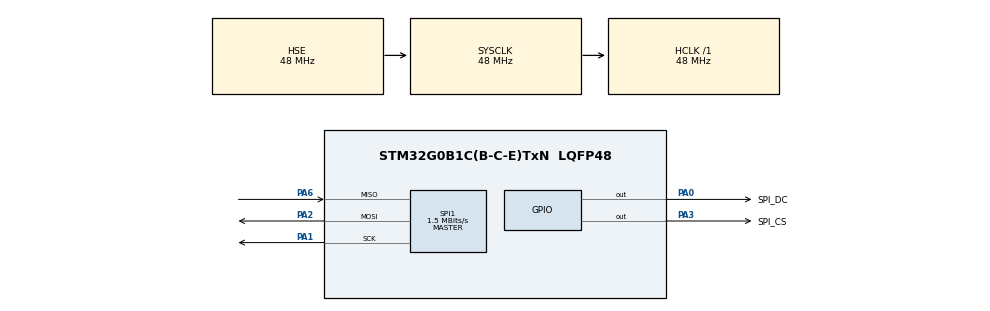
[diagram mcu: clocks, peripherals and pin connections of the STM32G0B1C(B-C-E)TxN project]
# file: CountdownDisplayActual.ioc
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Mcu.Family=STM32G0
Mcu.Name=STM32G0B1C(B-C-E)TxN
Mcu.Package=LQFP48
NVIC.TIM2_IRQn=true\:0\:0\:false\:false\:true\:true\:true\:true
PA0.GPIO_Label=SPI_DC
PA0.GPIO_PuPd=GPIO_NOPULL
PA0.GPIO_Speed=GPIO_SPEED_FREQ_LOW
PA0.Signal=GPIO_Output
PA1.Mode=Full_Duplex_Master
PA1.Signal=SPI1_SCK
PA13.Mode=Serial_Wire
PA13.Signal=SYS_SWDIO
PA14-BOOT0.Mode=Serial_Wire
PA14-BOOT0.Signal=SYS_SWCLK
PA2.Mode=Full_Duplex_Master
PA2.Signal=SPI1_MOSI
PA3.GPIO_Label=SPI_CS
PA3.GPIO_PuPd=GPIO_NOPULL
PA3.GPIO_Speed=GPIO_SPEED_FREQ_LOW
PA3.Signal=GPIO_Output
PA6.Mode=Full_Duplex_Master
PA6.Signal=SPI1_MISO
PF0-OSC_IN\ (PF0).Mode=HSE-External-Clock-Source
PF0-OSC_IN\ (PF0).Signal=RCC_OSC_IN
ProjectManager.HeapSize=0x200
ProjectManager.StackSize=0x400
ProjectManager.TargetToolchain=STM32CubeIDE
RCC.ADCFreq_Value=48000000
RCC.AHBFreq_Value=48000000
RCC.CortexFreq_Value=48000000
RCC.EXTERNAL_CLOCK_VALUE=48000
RCC.HCLKFreq_Value=48000000
RCC.HSE_VALUE=48000000
RCC.HSI48_VALUE=48000000
RCC.HSI_VALUE=16000000
RCC.LSE_VALUE=32768
RCC.PLLM=RCC_PLLM_DIV4
RCC.PLLSourceVirtual=RCC_PLLSOURCE_HSE
RCC.SYSCLKFreq_VALUE=48000000
RCC.SYSCLKSource=RCC_SYSCLKSOURCE_HSE
RCC.USBFreq_Value=48000000
RCC.VCOOutputFreq_Value=96000000
RTC.Date=31
RTC.Hours=7
RTC.Minutes=20
RTC.Month=RTC_MONTH_OCTOBER
RTC.WeekDay=RTC_WEEKDAY_THURSDAY
RTC.Year=24
SPI1.BaudRatePrescaler=SPI_BAUDRATEPRESCALER_32
SPI1.CalculateBaudRate=1.5 MBits/s
SPI1.Direction=SPI_DIRECTION_2LINES
SPI1.Mode=SPI_MODE_MASTER
SPI1.VirtualType=VM_MASTER
TIM2.Prescaler=1000
VP_RTC_VS_RTC_Activate.Mode=RTC_Enabled
VP_RTC_VS_RTC_Calendar.Mode=RTC_Calendar
VP_SYS_VS_DBSignals.Mode=DisableDeadBatterySignals
VP_TIM2_VS_ClockSourceINT.Mode=Internal
board=custom

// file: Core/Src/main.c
/* USER CODE BEGIN Header */
/**
 ******************************************************************************
 * @file           : main.c
 * @brief          : Main program body
 ******************************************************************************
 * @attention
 *
 * Copyright (c) 2024 STMicroelectronics.
 * All rights reserved.
 *
 * This software is licensed under terms that can be found in the LICENSE file
 * in the root directory of this software component.
 * If no LICENSE file comes with this software, it is provided AS-IS.
 *
 ******************************************************************************
 */
/* USER CODE END Header */
#include "main.h"

/* USER CODE BEGIN Includes */
#include <string.h>
#include <stdbool.h>
#include <stdlib.h>
#include "st7735.h"
#include "font.h"
/* USER CODE END Includes */

RTC_HandleTypeDef hrtc;

SPI_HandleTypeDef hspi1;

TIM_HandleTypeDef htim2;

/* USER CODE BEGIN PV */
PixelData screen[128][160];

FontCharacter font[] = { // A-Z, 0-9 (36 total characters)
		{32, 0},
		{32, 1},
		{32, 2},
		{32, 3},
		{32, 4},
		{32, 5},
		{32, 6},
		{32, 7},
		{32, 8},
		{32, 9},
		{32, 10},
		{32, 11},
		{32, 12},
		{32, 13},
		{32, 14},
		{32, 15},
		{42, 16}, // Q
		{32, 17},
		{32, 18},
		{32, 19},
		{32, 20},
		{32, 21},
		{32, 22},
		{32, 23},
		{32, 24},
		{32, 25},
		{32, 26}, // 0
		{32, 27},
		{32, 28},
		{32, 29},
		{32, 30},
		{32, 31},
		{32, 32},
		{32, 33},
		{32, 34},
		{32, 35},
};

uint8_t textElementsCount = 0;
// Text element buffer, 32 elements max!
// Allocated to disallow dynamic allocation.
TextElement textElements[32];

// Destination date struct
RTC_DateTypeDef jan1 = {
		RTC_WEEKDAY_WEDNESDAY,
		RTC_MONTH_JANUARY,
		1,
		25
};

int currentDate;
int daysRemaining;
/* USER CODE END PV */

void SystemClock_Config(void);
static void MX_GPIO_Init(void);
static void MX_RTC_Init(void);
static void MX_SPI1_Init(void);
static void MX_TIM2_Init(void);
/* USER CODE BEGIN PFP */
void writeLCD(ST7735_JOB job, uint8_t *data);
void writeLCDColour(PixelData data);
PixelData colourFromHex(uint8_t r, uint8_t g, uint8_t b);
void drawText(TextElement te);
void drawCharacter(uint8_t x, uint8_t y, FontCharacter character, PixelData colour);
void updateBuffer();
void updateScreen();
void updateRect(Rect rect);
void addText(const char* text, PixelData colour, Point pos, bool centered);
void removeText(int index);
int calculateDaysRemaining(RTC_DateTypeDef from, RTC_DateTypeDef to);
char* intToString(int i);
/* USER CODE END PFP */

int main(void)
{

	/* MCU Configuration--------------------------------------------------------*/

	/* Reset of all peripherals, Initializes the Flash interface and the Systick. */
	HAL_Init();

	/* USER CODE BEGIN Init */
	uint8_t startupData[] = {
			0x01, 0x2C, 0x2D, // FRMCTR1 // FRMCTR2 // FRMCTR3 (1)
			0x01, 0x2C, 0x2D, // FRMCTR3 (2)
			0x07,			  // INVCTR
			0xA2, 0x02, 0x84, // PWCTR1
			0xC5,			  // PWCTR2
			0x0A, 0x00,		  // PWCTR3
			0x8A, 0x2A,		  // PWCTR4
			0x8A, 0xEE,		  // PWCTR5
			0x0E, 0x0E,		  // VMCTR1
			0x20,			  // MADCTL
			0x06,			  // COLMOD
			0x00, 0x00, 0x00, 0x7F, // RASET
			0x00, 0x00, 0x00, 0x9F, // CASET
			0x02, 0x1C, 0x07, 0x12, 0x37, 0x32, 0x29, 0x2D, 0x29, 0x25, 0x2B, 0x39, 0x00, 0x01, 0x03, 0x10, // GAMCTRP1
			0x03, 0x1D, 0x07, 0x06, 0x2E, 0x2C, 0x29, 0x2D, 0x2E, 0x2E, 0x37, 0x3F, 0x00, 0x00, 0x02, 0x10, // GAMCTRN1
	};

	ST7735_JOB jobs[] = {
			{ST7735_SWRESET, 0, 0, 150},
			{ST7735_SLPOUT, 0, 0, 500},
			{ST7735_FRMCTR1, 0, 3, 0},
			{ST7735_FRMCTR2, 0, 3, 0},
			{ST7735_FRMCTR3, 0, 6, 0},
			{ST7735_INVCTR, 6, 1, 0},
			{ST7735_PWCTR1, 7, 3, 0},
			{ST7735_PWCTR2, 10, 1, 0},
			{ST7735_PWCTR3, 11, 2, 0},
			{ST7735_PWCTR4, 13, 2, 0},
			{ST7735_PWCTR5, 15, 2, 0},
			{ST7735_VMCTR1, 17, 2, 0},
			{ST7735_INVOFF, 19, 0, 0},
			{ST7735_MADCTL, 19, 1, 0},
			{ST7735_COLMOD, 20, 1, 0},
			{ST7735_RASET, 21, 4, 0},
			{ST7735_CASET, 25, 4, 0},
			{ST7735_GAMCTRP1, 29, 16, 0},
			{ST7735_GAMCTRN1, 45, 16, 0},
			{ST7735_NORON, 51, 0, 10},
			{ST7735_TEOFF, 51, 0, 0},
			{ST7735_DISPON, 51, 0, 100},
	};
	/* USER CODE END Init */

	/* Configure the system clock */
	SystemClock_Config();

	/* Initialize all configured peripherals */
	MX_GPIO_Init();
	MX_RTC_Init();
	MX_SPI1_Init();
	MX_TIM2_Init();
	/* USER CODE BEGIN 2 */
	uint32_t jobSize = sizeof(jobs) / sizeof(ST7735_JOB);
	for(int i = 0; i < jobSize; i++) {
		writeLCD(jobs[i], startupData);
	}
	writeLCDColour(colourFromHex(0x35, 0x35, 0x35)); // Set background colour
	updateScreen();
	addText("Days\nLeft", White, (Point) {64, 60}, true);
	updateBuffer();
	RTC_DateTypeDef currDate;
	HAL_RTC_GetDate(&hrtc, &currDate, RTC_FORMAT_BCD);
	currentDate = currDate.WeekDay;
	/* USER CODE END 2 */

	/* Infinite loop */
	while (1)
	{

	}
}

void SystemClock_Config(void)
{
	RCC_OscInitTypeDef RCC_OscInitStruct = {0};
	RCC_ClkInitTypeDef RCC_ClkInitStruct = {0};

	/** Configure the main internal regulator output voltage
	 */
	HAL_PWREx_ControlVoltageScaling(PWR_REGULATOR_VOLTAGE_SCALE1);

	/** Initializes the RCC Oscillators according to the specified parameters
	 * in the RCC_OscInitTypeDef structure.
	 */
	RCC_OscInitStruct.OscillatorType = RCC_OSCILLATORTYPE_LSI|RCC_OSCILLATORTYPE_HSE;
	RCC_OscInitStruct.HSEState = RCC_HSE_BYPASS;
	RCC_OscInitStruct.LSIState = RCC_LSI_ON;
	RCC_OscInitStruct.PLL.PLLState = RCC_PLL_NONE;
	if (HAL_RCC_OscConfig(&RCC_OscInitStruct) != HAL_OK)
	{
		Error_Handler();
	}

	/** Initializes the CPU, AHB and APB buses clocks
	 */
	RCC_ClkInitStruct.ClockType = RCC_CLOCKTYPE_HCLK|RCC_CLOCKTYPE_SYSCLK
			|RCC_CLOCKTYPE_PCLK1;
	RCC_ClkInitStruct.SYSCLKSource = RCC_SYSCLKSOURCE_HSE;
	RCC_ClkInitStruct.AHBCLKDivider = RCC_SYSCLK_DIV1;
	RCC_ClkInitStruct.APB1CLKDivider = RCC_HCLK_DIV1;

	if (HAL_RCC_ClockConfig(&RCC_ClkInitStruct, FLASH_LATENCY_1) != HAL_OK)
	{
		Error_Handler();
	}
}

static void MX_RTC_Init(void)
{

	RTC_TimeTypeDef sTime = {0};
	RTC_DateTypeDef sDate = {0};

	/** Initialize RTC Only
	 */
	hrtc.Instance = RTC;
	hrtc.Init.HourFormat = RTC_HOURFORMAT_24;
	hrtc.Init.AsynchPrediv = 127;
	hrtc.Init.SynchPrediv = 255;
	hrtc.Init.OutPut = RTC_OUTPUT_DISABLE;
	hrtc.Init.OutPutRemap = RTC_OUTPUT_REMAP_NONE;
	hrtc.Init.OutPutPolarity = RTC_OUTPUT_POLARITY_HIGH;
	hrtc.Init.OutPutType = RTC_OUTPUT_TYPE_OPENDRAIN;
	hrtc.Init.OutPutPullUp = RTC_OUTPUT_PULLUP_NONE;
	if (HAL_RTC_Init(&hrtc) != HAL_OK)
	{
		Error_Handler();
	}

	/** Initialize RTC and set the Time and Date
	 */
	sTime.Hours = 0x7;
	sTime.Minutes = 0x20;
	sTime.Seconds = 0x0;
	sTime.SubSeconds = 0x0;
	sTime.DayLightSaving = RTC_DAYLIGHTSAVING_NONE;
	sTime.StoreOperation = RTC_STOREOPERATION_RESET;
	if (HAL_RTC_SetTime(&hrtc, &sTime, RTC_FORMAT_BCD) != HAL_OK)
	{
		Error_Handler();
	}
	sDate.WeekDay = RTC_WEEKDAY_THURSDAY;
	sDate.Month = RTC_MONTH_OCTOBER;
	sDate.Date = 0x31;
	sDate.Year = 0x24;

	if (HAL_RTC_SetDate(&hrtc, &sDate, RTC_FORMAT_BCD) != HAL_OK)
	{
		Error_Handler();
	}

}

static void MX_SPI1_Init(void)
{

	/* SPI1 parameter configuration*/
	hspi1.Instance = SPI1;
	hspi1.Init.Mode = SPI_MODE_MASTER;
	hspi1.Init.Direction = SPI_DIRECTION_2LINES;
	hspi1.Init.DataSize = SPI_DATASIZE_8BIT;
	hspi1.Init.CLKPolarity = SPI_POLARITY_LOW;
	hspi1.Init.CLKPhase = SPI_PHASE_1EDGE;
	hspi1.Init.NSS = SPI_NSS_SOFT;
	hspi1.Init.BaudRatePrescaler = SPI_BAUDRATEPRESCALER_32;
	hspi1.Init.FirstBit = SPI_FIRSTBIT_MSB;
	hspi1.Init.TIMode = SPI_TIMODE_DISABLE;
	hspi1.Init.CRCCalculation = SPI_CRCCALCULATION_DISABLE;
	hspi1.Init.CRCPolynomial = 7;
	hspi1.Init.CRCLength = SPI_CRC_LENGTH_DATASIZE;
	hspi1.Init.NSSPMode = SPI_NSS_PULSE_ENABLE;
	if (HAL_SPI_Init(&hspi1) != HAL_OK)
	{
		Error_Handler();
	}

}

static void MX_TIM2_Init(void)
{

	TIM_ClockConfigTypeDef sClockSourceConfig = {0};
	TIM_MasterConfigTypeDef sMasterConfig = {0};

	htim2.Instance = TIM2;
	htim2.Init.Prescaler = 1000;
	htim2.Init.CounterMode = TIM_COUNTERMODE_UP;
	htim2.Init.Period = 4294967295;
	htim2.Init.ClockDivision = TIM_CLOCKDIVISION_DIV1;
	htim2.Init.AutoReloadPreload = TIM_AUTORELOAD_PRELOAD_DISABLE;
	if (HAL_TIM_Base_Init(&htim2) != HAL_OK)
	{
		Error_Handler();
	}
	sClockSourceConfig.ClockSource = TIM_CLOCKSOURCE_INTERNAL;
	if (HAL_TIM_ConfigClockSource(&htim2, &sClockSourceConfig) != HAL_OK)
	{
		Error_Handler();
	}
	sMasterConfig.MasterOutputTrigger = TIM_TRGO_RESET;
	sMasterConfig.MasterSlaveMode = TIM_MASTERSLAVEMODE_DISABLE;
	if (HAL_TIMEx_MasterConfigSynchronization(&htim2, &sMasterConfig) != HAL_OK)
	{
		Error_Handler();
	}

}

static void MX_GPIO_Init(void)
{
	GPIO_InitTypeDef GPIO_InitStruct = {0};

	/* GPIO Ports Clock Enable */
	__HAL_RCC_GPIOF_CLK_ENABLE();
	__HAL_RCC_GPIOA_CLK_ENABLE();

	/*Configure GPIO pin Output Level */
	HAL_GPIO_WritePin(GPIOA, SPI_DC_Pin|SPI_CS_Pin, GPIO_PIN_RESET);

	/*Configure GPIO pins : SPI_DC_Pin SPI_CS_Pin */
	GPIO_InitStruct.Pin = SPI_DC_Pin|SPI_CS_Pin;
	GPIO_InitStruct.Mode = GPIO_MODE_OUTPUT_PP;
	GPIO_InitStruct.Pull = GPIO_NOPULL;
	GPIO_InitStruct.Speed = GPIO_SPEED_FREQ_LOW;
	HAL_GPIO_Init(GPIOA, &GPIO_InitStruct);

}

/* USER CODE BEGIN 4 */
void writeLCD(ST7735_JOB job, uint8_t *data) {
	HAL_GPIO_WritePin(SPI_DC_GPIO_Port, SPI_DC_Pin, GPIO_PIN_RESET);
	HAL_GPIO_WritePin(SPI_CS_GPIO_Port, SPI_CS_Pin, GPIO_PIN_RESET);
	HAL_SPI_Transmit(&hspi1, &job.op, 1, HAL_MAX_DELAY);
	HAL_GPIO_WritePin(SPI_CS_GPIO_Port, SPI_CS_Pin, GPIO_PIN_SET);
	if(job.dataLength != 0) {
		HAL_GPIO_WritePin(SPI_DC_GPIO_Port, SPI_DC_Pin, GPIO_PIN_SET);
		for(int i = job.offset; i < job.offset + job.dataLength; i++) {
			HAL_GPIO_WritePin(SPI_CS_GPIO_Port, SPI_CS_Pin, GPIO_PIN_RESET);
			HAL_SPI_Transmit(&hspi1, data + i, 1, HAL_MAX_DELAY);
			HAL_GPIO_WritePin(SPI_CS_GPIO_Port, SPI_CS_Pin, GPIO_PIN_SET);
		}
	}
	HAL_SPI_Abort(&hspi1);
}

void writeLCDColour(PixelData data) {
	for(int i = 0; i < 128; i++) {
		for(int j = 0; j < 160; j++) {
			screen[i][j] = data;
		}
	}
}

PixelData colourFromHex(uint8_t r, uint8_t g, uint8_t b) {
	return (PixelData) {{r, g, b}};
}

void drawText(TextElement te) {
	// Determine the longest line of text
	int xOffset = 0;
	if(te.centered) {
		char* newLinePos = index(te.text, '\n');
		int longestLine = 0;
		// If word has no newlines, take the current text length
		if(newLinePos == NULL) {
			longestLine = strlen(te.text);
		} else {
			int tempCount = 0;
			// Iterate through the string gathering the longest distance between two newlines
			for(int i = 0; i < strlen(te.text) + 1; i++) {
				if(te.text[i] != '\n' && te.text[i] != 0x00) {
					tempCount++;
				} else {
					if(tempCount > longestLine) {
						longestLine = tempCount;
					}
					tempCount = 0;
				}
			}
		}
		int longestWidth = 24 * longestLine;
		xOffset = longestWidth / 2;
	}
	size_t textLength = strlen(te.text);
	uint8_t xPos = te.point.x - xOffset;
	uint8_t yPos = te.point.y;
	bool draw = true;
	for(int i = 0; i < textLength; i++) {
		char currChar = te.text[i];
		switch(currChar) {
		case 'A' ... 'Z':
		currChar -= 'A';
		break;
		case 'a' ... 'z':
		currChar -= 'a';
		break;
		case '0' ... '9':
		currChar -= '0';
		currChar += 26;
		break;
		case '\n':
			draw = false;
			xPos = te.point.x - xOffset;
			yPos += 45;
			break;
		default:
			break;
		}
		if(draw) {
			FontCharacter fc = font[(uint8_t) currChar];
			drawCharacter(xPos, yPos, fc, te.colour);
			xPos += 24;
		}
		draw = true;
	}
}

void drawCharacter(uint8_t x, uint8_t y, FontCharacter character, PixelData colour) {
	uint16_t dataPos = character.start * 96;
	if(character.start > 16) {
		dataPos += 30; // 10 rows * 3 bytes
	}
	for(int i = 0; i < character.height; i++) {
		for(int j = 0; j < 3; j++) { // Iterate through each byte
			for(int k = 7; k > -1; k--) { // Iterate through the bits of the byte
				if((fontData[dataPos + j] & (0b1 << k)) > 0) {
					uint8_t xPos = x + ((j * 8) - k);
					uint8_t yPos = i + y;
					if(xPos > 1 && xPos < 128 && yPos > 0 && yPos < 160) {
						screen[xPos][yPos] = colour;
					}
				}
			}
		}
		dataPos += 3;
	}
}

void updateBuffer() {
	for(int i = 0; i < textElementsCount; i++) {
		drawText(textElements[i]);
	}
	updateScreen();
}

void updateScreen() {
	//	writeLCD((ST7735_JOB) {ST7735_DISPOFF, 0, 0, 100}, 0);
	uint8_t width[4] = {0x00, 0x00, 0x00, 0x7F}; // Max width and height
	uint8_t height[4] = {0x00, 0x00, 0x00, 0x9F};
	ST7735_JOB j = {ST7735_RASET, 0, 4, 0};
	writeLCD(j, width);
	j = (ST7735_JOB) {ST7735_CASET, 0, 4, 0};
	writeLCD(j, height);
	j = (ST7735_JOB) {ST7735_RAMWR, 0, 0, 0};
	writeLCD(j, NULL);
	HAL_GPIO_WritePin(SPI_DC_GPIO_Port, SPI_DC_Pin, GPIO_PIN_SET);
	HAL_GPIO_WritePin(SPI_CS_GPIO_Port, SPI_CS_Pin, GPIO_PIN_RESET);
	for(int i = 0; i < 128; i++) {
		for(int j = 0; j < 160; j++) {
			if(HAL_SPI_Transmit(&hspi1, screen[i][j].data, 3, 10) != HAL_OK) {
				Error_Handler();
			}
		}
	}
	HAL_GPIO_WritePin(SPI_CS_GPIO_Port, SPI_CS_Pin, GPIO_PIN_SET);
	writeLCD((ST7735_JOB) {ST7735_DISPON, 0, 0, 100}, 0);
	HAL_SPI_Abort(&hspi1);
}

void updateRect(Rect rect) {
	writeLCD((ST7735_JOB) {ST7735_DISPOFF, 0, 0, 100}, 0);
	uint8_t width[4] = {0x00, rect.x, 0x00, rect.x + rect.w}; // Bounding rect of object
	uint8_t height[4] = {0x00, rect.y, 0x00, rect.y + rect.h - 1};
	ST7735_JOB j = {ST7735_RASET, 0, 4, 0};
	writeLCD(j, width);
	j = (ST7735_JOB) {ST7735_CASET, 0, 4, 0};
	writeLCD(j, height);
	j = (ST7735_JOB) {ST7735_RAMWR, 0, 0, 0};
	writeLCD(j, NULL);
	HAL_GPIO_WritePin(SPI_DC_GPIO_Port, SPI_DC_Pin, GPIO_PIN_SET);
	HAL_GPIO_WritePin(SPI_CS_GPIO_Port, SPI_CS_Pin, GPIO_PIN_RESET);
	for(int i = rect.x; i < rect.x + rect.w; i++) {
		for(int j = rect.y; j < rect.y + rect.h; j++) {
			HAL_SPI_Transmit(&hspi1, screen[i][j].data, 3, 10);
		}
	}
	HAL_GPIO_WritePin(SPI_CS_GPIO_Port, SPI_CS_Pin, GPIO_PIN_SET);
	writeLCD((ST7735_JOB) {ST7735_DISPON, 0, 0, 100}, 0);
}

void addText(const char* text, PixelData colour, Point pos, bool centered) {
	TextElement te = {text, colour, pos, centered};
	textElements[textElementsCount++] = te;
}

void removeText(int index) {
	if(index > textElementsCount) {
		return;
	}
	for(int i = index; i < textElementsCount; i++) {
		textElements[i] = textElements[i + 1];
	}
}

int calculateDaysRemaining(RTC_DateTypeDef from, RTC_DateTypeDef to) {

}

char* intToString(int i) {

}

/* USER CODE END 4 */

void Error_Handler(void)
{
	__disable_irq();
	while (1)
	{
	}
}
